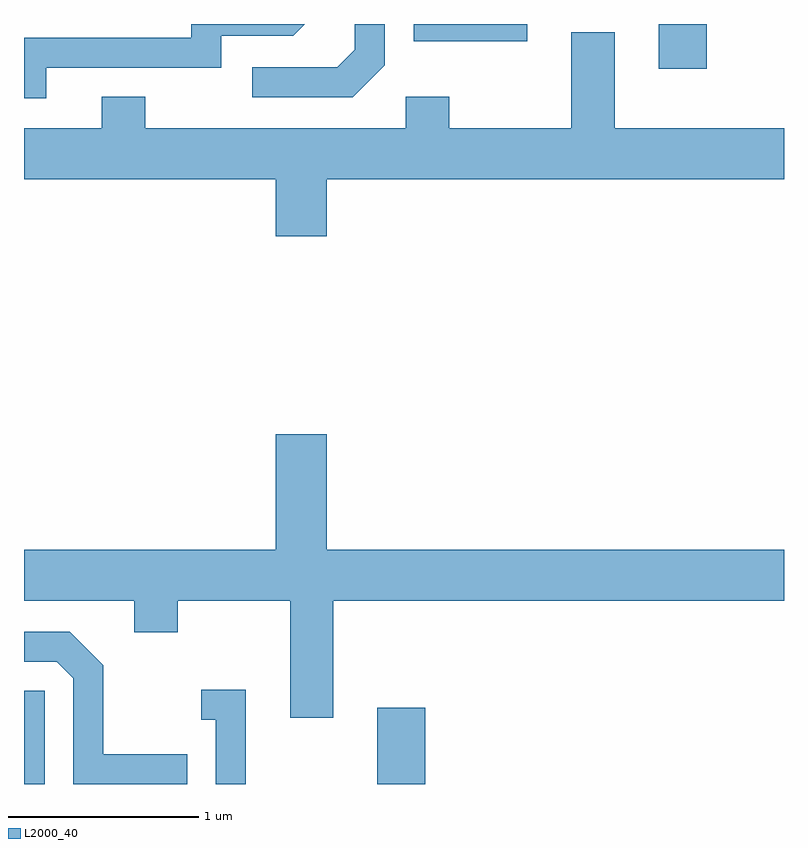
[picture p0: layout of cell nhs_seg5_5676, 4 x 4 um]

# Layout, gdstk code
import gdstk
lib = gdstk.Library(unit=1e-6, precision=1e-09)
def R(c, l, rs):  # rectangles x0, y0, x1, y1
    for r in rs: c.add(gdstk.rectangle(r[:2], r[2:], *l))
def P(c, l, *ps):  # polygons
    for p in ps: c.add(gdstk.Polygon(p, *l))
L2000_40 = (2000, 40)

nhs_seg5_5676 = lib.new_cell('nhs_seg5_5676')
R(nhs_seg5_5676, L2000_40, [(353.611,1438.072,353.719,1438.564), (355.471,1438.072,355.724,1438.474), (356.951,1441.836,357.204,1442.072), (355.661,1441.981,356.259,1442.072)])
P(nhs_seg5_5676, L2000_40, [(355.509,1441.854),(355.509,1442.072),(355.351,1442.072),(355.351,1441.937),(355.259,1441.844),(354.813,1441.844),(354.813,1441.686),(355.342,1441.686)],
  [(353.729,1441.841),(354.649,1441.841),(354.649,1442.011),(355.027,1442.011),(355.088,1442.072),(354.491,1442.072),(354.491,1441.999),(353.611,1441.999),(353.611,1441.681),(353.729,1441.681)],
  [(355.204,1441.256),(357.611,1441.256),(357.611,1441.524),(356.719,1441.524),(356.719,1442.029),(356.491,1442.029),(356.491,1441.524),(355.849,1441.524),(355.849,1441.689),(355.621,1441.689),(355.621,1441.524),(354.249,1441.524),(354.249,1441.689),(354.021,1441.689),(354.021,1441.524),(353.611,1441.524),(353.611,1441.256),(354.936,1441.256),(354.936,1440.956),(355.204,1440.956)],
  [(355.239,1439.036),(357.611,1439.036),(357.611,1439.304),(355.204,1439.304),(355.204,1439.914),(354.936,1439.914),(354.936,1439.304),(353.611,1439.304),(353.611,1439.036),(354.191,1439.036),(354.191,1438.871),(354.419,1438.871),(354.419,1439.036),(355.011,1439.036),(355.011,1438.421),(355.239,1438.421)],
  [(354.469,1438.229),(354.029,1438.229),(354.029,1438.697),(353.852,1438.874),(353.611,1438.874),(353.611,1438.716),(353.784,1438.716),(353.871,1438.629),(353.871,1438.072),(354.469,1438.072)],
  [(354.779,1438.569),(354.543,1438.569),(354.543,1438.411),(354.621,1438.411),(354.621,1438.072),(354.779,1438.072)])

lib.write_gds('nhs_seg5_5676.gds')
